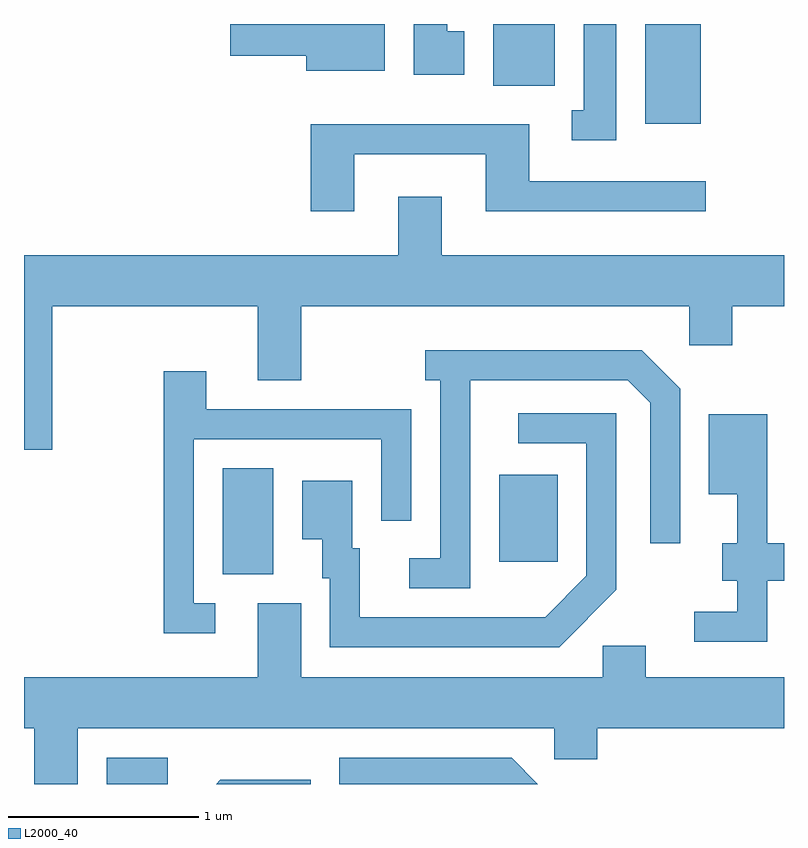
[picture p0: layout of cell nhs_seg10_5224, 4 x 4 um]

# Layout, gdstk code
import gdstk
lib = gdstk.Library(unit=1e-6, precision=1e-09)
def R(c, l, rs):  # rectangles x0, y0, x1, y1
    for r in rs: c.add(gdstk.rectangle(r[:2], r[2:], *l))
def P(c, l, *ps):  # polygons
    for p in ps: c.add(gdstk.Polygon(p, *l))
L2000_40 = (2000, 40)

nhs_seg10_5224 = lib.new_cell('nhs_seg10_5224')
R(nhs_seg10_5224, L2000_40, [(340.046,2102.522,340.368,2102.659), (340.656,2103.626,340.924,2104.184), (342.111,2103.691,342.419,2104.149), (342.881,2105.996,343.174,2106.522), (342.081,2106.196,342.404,2106.522)])
P(nhs_seg10_5224, L2000_40, [(341.509,2106.522),(340.696,2106.522),(340.696,2106.356),(341.096,2106.356),(341.096,2106.276),(341.509,2106.276)],
  [(341.929,2106.484),(341.839,2106.484),(341.839,2106.522),(341.661,2106.522),(341.661,2106.256),(341.929,2106.256)],
  [(342.729,2106.522),(342.556,2106.522),(342.556,2106.069),(342.493,2106.069),(342.493,2105.911),(342.729,2105.911)],
  [(341.349,2105.836),(342.041,2105.836),(342.041,2105.536),(343.198,2105.536),(343.198,2105.694),(342.269,2105.694),(342.269,2105.994),(341.121,2105.994),(341.121,2105.536),(341.349,2105.536)],
  [(339.759,2105.036),(340.841,2105.036),(340.841,2104.646),(341.069,2104.646),(341.069,2105.036),(343.111,2105.036),(343.111,2104.831),(343.339,2104.831),(343.339,2105.036),(343.611,2105.036),(343.611,2105.304),(341.809,2105.304),(341.809,2105.614),(341.581,2105.614),(341.581,2105.304),(339.611,2105.304),(339.611,2104.281),(339.759,2104.281)],
  [(341.959,2104.646),(342.789,2104.646),(342.906,2104.529),(342.906,2103.788),(343.064,2103.788),(343.064,2104.602),(342.862,2104.804),(341.723,2104.804),(341.723,2104.646),(341.801,2104.646),(341.801,2103.709),(341.638,2103.709),(341.638,2103.551),(341.959,2103.551)],
  [(340.618,2103.474),(340.504,2103.474),(340.504,2104.336),(341.491,2104.336),(341.491,2103.908),(341.649,2103.908),(341.649,2104.494),(340.569,2104.494),(340.569,2104.694),(340.346,2104.694),(340.346,2103.316),(340.618,2103.316)],
  [(342.729,2103.544),(342.729,2104.474),(342.213,2104.474),(342.213,2104.316),(342.571,2104.316),(342.571,2103.617),(342.354,2103.399),(341.379,2103.399),(341.379,2103.764),(341.339,2103.764),(341.339,2104.119),(341.076,2104.119),(341.076,2103.811),(341.181,2103.811),(341.181,2103.606),(341.221,2103.606),(341.221,2103.241),(342.427,2103.241)],
  [(343.524,2103.591),(343.611,2103.591),(343.611,2103.789),(343.524,2103.789),(343.524,2104.469),(343.216,2104.469),(343.216,2104.046),(343.366,2104.046),(343.366,2103.789),(343.286,2103.789),(343.286,2103.591),(343.366,2103.591),(343.366,2103.429),(343.138,2103.429),(343.138,2103.271),(343.524,2103.271)],
  [(339.894,2102.816),(342.401,2102.816),(342.401,2102.651),(342.629,2102.651),(342.629,2102.816),(343.611,2102.816),(343.611,2103.084),(342.884,2103.084),(342.884,2103.249),(342.656,2103.249),(342.656,2103.084),(341.069,2103.084),(341.069,2103.474),(340.841,2103.474),(340.841,2103.084),(339.611,2103.084),(339.611,2102.816),(339.666,2102.816),(339.666,2102.522),(339.894,2102.522)],
  [(342.177,2102.659),(341.271,2102.659),(341.271,2102.522),(342.314,2102.522)],
  [(341.119,2102.544),(340.644,2102.544),(340.622,2102.522),(341.119,2102.522)])

lib.write_gds('nhs_seg10_5224.gds')
